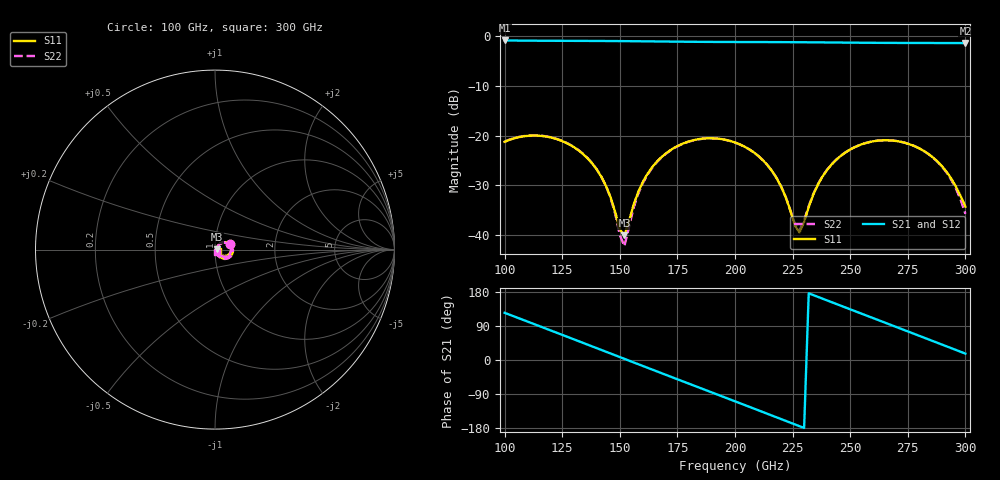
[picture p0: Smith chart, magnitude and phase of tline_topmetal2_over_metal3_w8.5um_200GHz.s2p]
#  GHZ S DB R 50
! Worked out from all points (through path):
!   101 points, 100 GHz to 300 GHz, reference 50 ohm
!   highest |S21| = -0.86 dB at 100 GHz (marker M1); lowest = -1.4 dB at 300 GHz (marker M2)
!   group delay of S21, straight-line fit = 6.5 ps
!   lowest |S11| = -40.1 dB at 152 GHz (marker M3), VSWR 1.02, Z = 51 + j0.0863 ohm
!   |S11| at or under -10 dB: start of sweep to end of sweep
!   |S22| runs from -42.2 to -19.9 dB; largest |S21 - S12| = 1e-13
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100  -21.23 20.8  -0.86 124.6  -0.86 124.6  -21.19 19.7
116  -20.05 -12.3  -0.92 87.3  -0.92 87.3  -20.02 -13.5
124  -20.91 -28.7  -0.94 68.7  -0.94 68.7  -20.87 -30.2
134  -23.67 -48.1  -0.95 45.3  -0.95 45.3  -23.63 -50.2
144  -30.10 -60.4  -0.97 21.8  -0.97 21.8  -30.12 -64.7
150  -38.80 -33.7  -0.99 7.7  -0.99 7.7  -39.95 -42.8
152  -40.06 4.9  -1.00 3.0  -1.00 3.0  -42.21 4.1
158  -31.31 49.6  -1.03 -11.1  -1.03 -11.1  -31.67 53.3
168  -24.34 39.6  -1.07 -34.5  -1.07 -34.5  -24.43 41.0
184  -20.72 8.6  -1.14 -71.8  -1.14 -71.8  -20.75 9.2
200  -21.37 -23.9  -1.18 -109.0  -1.18 -109.0  -21.38 -23.6
216  -27.06 -51.7  -1.20 -146.5  -1.20 -146.5  -27.06 -51.2
228  -39.47 3.4  -1.22 -174.7  -1.22 -174.7  -38.99 3.2
234  -31.83 50.8  -1.24 171.2  -1.24 171.2  -31.72 49.1
240  -26.87 48.7  -1.26 157.2  -1.26 157.2  -26.83 47.3
248  -23.36 36.1  -1.30 138.4  -1.30 138.4  -23.33 34.7
258  -21.33 17.0  -1.33 115.1  -1.33 115.1  -21.31 15.4
268  -20.97 -2.8  -1.36 91.8  -1.36 91.8  -20.96 -4.8
278  -22.12 -22.1  -1.37 68.4  -1.37 68.4  -22.12 -24.9
288  -25.25 -38.4  -1.38 45.0  -1.38 45.0  -25.30 -43.0
294  -28.73 -42.9  -1.39 30.9  -1.39 30.9  -28.97 -50.2
300  -34.27 -28.9  -1.40 16.8  -1.40 16.8  -35.71 -41.5
